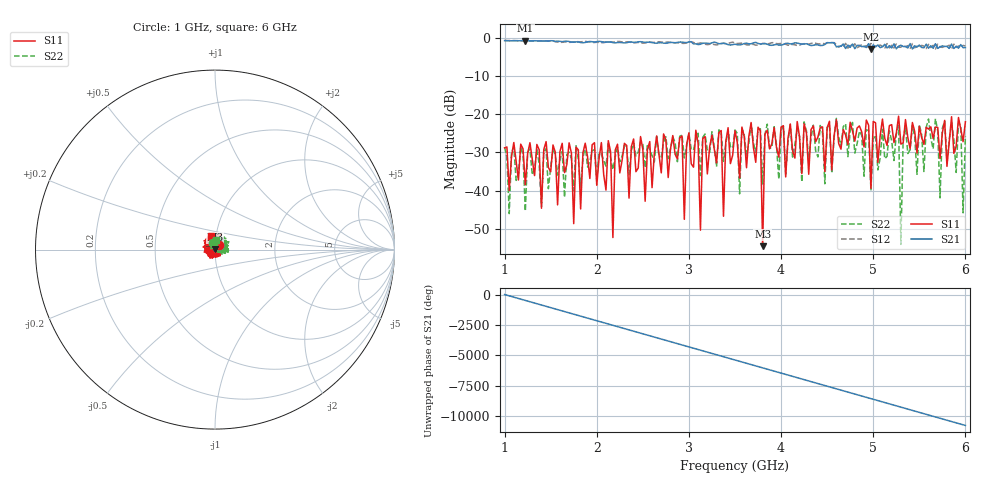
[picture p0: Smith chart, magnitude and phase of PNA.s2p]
!Agilent Technologies,E8358A,US40260214,A.04.86
!Agilent E8358A: A.04.86
!Date: Wednesday, July 24, 2019 08:31:58
!Correction: S11(Full 2 Port SOLT,1,2) S21(Full 2 Port SOLT,1,2) S12(Full 2 Port SOLT,1,2) S22(Full 2 Port SOLT,1,2)
!S2P File: Measurements: S11, S21, S12, S22:
# Hz S  dB  R 50
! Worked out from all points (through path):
!   201 points, 1 GHz to 6 GHz, reference 50 ohm
!   highest |S21| = -0.66 dB at 1.225 GHz (marker M1); lowest = -2.9 dB at 4.975 GHz (marker M2)
!   lowest |S11| = -54.6 dB at 3.8 GHz (marker M3), VSWR 1.00, Z = 50 + j0.185 ohm
!   |S11| at or under -10 dB: start of sweep to end of sweep
!   |S22| runs from -54.1 to -21.1 dB; largest |S21 - S12| = 0.15
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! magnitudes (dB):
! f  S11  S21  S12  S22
! 1 GHz  -28.8  -0.7  -0.6  -28.6
! 1.225 GHz  -38.5  -0.7  -0.7  -45.4
! 1.85 GHz  -30.1  -1.2  -0.9  -31.7
! 2.125 GHz  -26.9  -1.0  -1.0  -27.6
! 2.175 GHz  -52.3  -1.2  -1.1  -34.5
! 2.225 GHz  -27.9  -1.2  -0.9  -28.6
! 2.675 GHz  -30.6  -1.2  -1.0  -30.9
! 3.075 GHz  -24.2  -1.5  -1.4  -26.5
! 3.125 GHz  -50.4  -1.6  -1.3  -36.1
! 3.15 GHz  -26.4  -1.4  -1.3  -26.1
! 3.375 GHz  -46.7  -1.3  -1.4  -32.4
! 3.5 GHz  -24.3  -1.6  -1.3  -24.1
! 3.775 GHz  -24.3  -1.6  -1.6  -23.8
! 3.8 GHz  -54.6  -1.5  -1.4  -38.3
! 3.825 GHz  -25.2  -1.4  -1.4  -25.2
! 4.35 GHz  -23.0  -1.9  -1.3  -22.9
! 4.975 GHz  -39.5  -2.9  -1.3  -40.0
! 5.175 GHz  -23.0  -2.0  -2.6  -24.3
! 5.275 GHz  -20.5  -2.2  -2.4  -23.0
! 5.3 GHz  -27.8  -1.9  -2.4  -54.1
! 5.35 GHz  -21.4  -2.2  -2.3  -23.3
! 6 GHz  -22.0  -2.5  -2.1  -25.7
